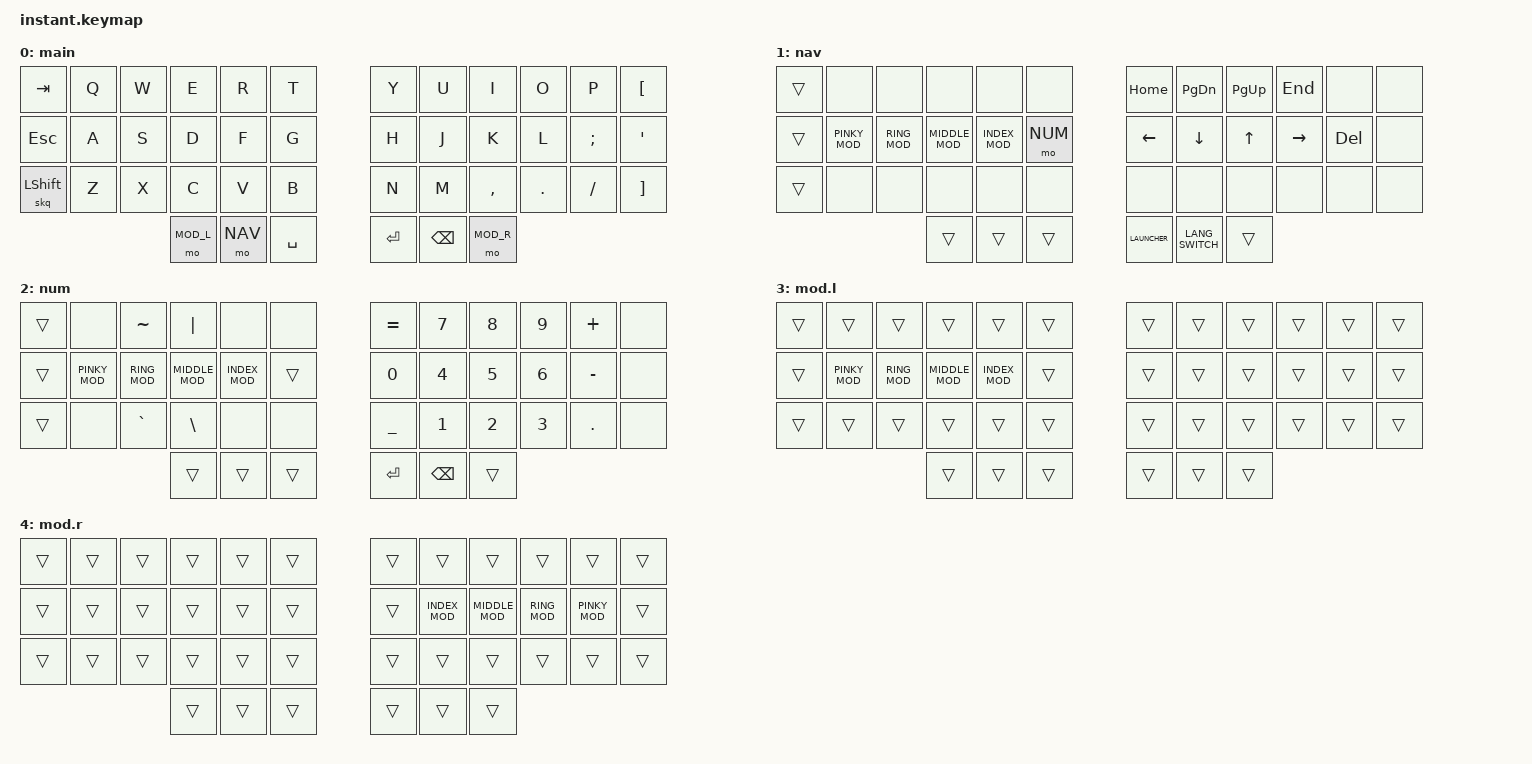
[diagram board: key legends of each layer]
#include <behaviors.dtsi>
#include <dt-bindings/zmk/keys.h>

#include "common.h"

#define EN    0
#define NAV   1
#define NUM   2
#define MOD_L 3
#define MOD_R 4

/*
 *  0  1  2  3  4  5  |  6  7  8  9 10 11
 * 12 13 14 15 16 17  | 18 19 20 21 22 23
 * 24 25 26 27 28 29  | 30 31 32 33 34 35
 *          36 37 38  | 39 40 41
 */


/ {
    behaviors {
        skq: sticky_key_quick {
            compatible = "zmk,behavior-sticky-key";
            #binding-cells = <1>;
            bindings = <&kp>;
            release-after-ms = <1000>;
            quick-release;
            ignore-modifiers;
        };
    };

    keymap {
        compatible = "zmk,keymap";

        default_layer {
            display-name = "main";
            bindings = <
    &kp TAB       &kp Q       &kp W       &kp E        &kp R       &kp T               &kp Y       &kp U       &kp I        &kp O       &kp P       &kp LBKT
    &kp ESC       &kp A       &kp S       &kp D        &kp F       &kp G               &kp H       &kp J       &kp K        &kp L       &kp SEMI    &kp SQT
    &skq LSHFT    &kp Z       &kp X       &kp C        &kp V       &kp B               &kp N       &kp M       &kp COMMA    &kp DOT     &kp FSLH    &kp RBKT
                                          &mo MOD_L    &mo NAV     &kp SPACE           &kp RET     &kp BSPC    &mo MOD_R
            >;
        };

        nav_layer {
            display-name = "nav";
            bindings = <
    &trans      &none            &none           &none             &none            &none               &kp HOME         &kp PG_DN          &kp PG_UP    &kp END      &none       &none
    &trans      &kp PINKY_MOD    &kp RING_MOD    &kp MIDDLE_MOD    &kp INDEX_MOD    &mo NUM             &kp LEFT         &kp DOWN           &kp UP       &kp RIGHT    &kp DEL     &none
    &trans      &none            &none           &none             &none            &none               &none            &none              &none        &none        &none       &none
                                                 &trans            &trans           &trans              &kp LAUNCHER     &kp LANG_SWITCH    &trans
            >;
        };

        num_layer {
            display-name = "num";
            bindings = <
    &trans      &none            &kp TILDE       &kp PIPE          &none            &none               &kp EQUAL    &kp N7      &kp N8      &kp N9      &kp PLUS     &none
    &trans      &kp PINKY_MOD    &kp RING_MOD    &kp MIDDLE_MOD    &kp INDEX_MOD    &trans              &kp N0       &kp N4      &kp N5      &kp N6      &kp MINUS    &none
    &trans      &none            &kp GRAVE       &kp BSLH          &none            &none               &kp UNDER    &kp N1      &kp N2      &kp N3      &kp DOT      &none
                                                 &trans            &trans           &trans              &kp RET      &kp BSPC    &trans
            >;
        };

        mod_l_layer {
            display-name = "mod.l";
            bindings = <
    &trans      &trans           &trans          &trans            &trans           &trans              &trans      &trans      &trans      &trans      &trans      &trans
    &trans      &kp PINKY_MOD    &kp RING_MOD    &kp MIDDLE_MOD    &kp INDEX_MOD    &trans              &trans      &trans      &trans      &trans      &trans      &trans
    &trans      &trans           &trans          &trans            &trans           &trans              &trans      &trans      &trans      &trans      &trans      &trans
                                                 &trans            &trans           &trans              &trans      &trans      &trans
            >;
        };

        mod_r_layer {
            display-name = "mod.r";
            bindings = <
    &trans      &trans      &trans      &trans      &trans      &trans              &trans      &trans           &trans            &trans          &trans           &trans
    &trans      &trans      &trans      &trans      &trans      &trans              &trans      &kp INDEX_MOD    &kp MIDDLE_MOD    &kp RING_MOD    &kp PINKY_MOD    &trans
    &trans      &trans      &trans      &trans      &trans      &trans              &trans      &trans           &trans            &trans          &trans           &trans
                                        &trans      &trans      &trans              &trans      &trans           &trans
            >;
        };

    };

};
